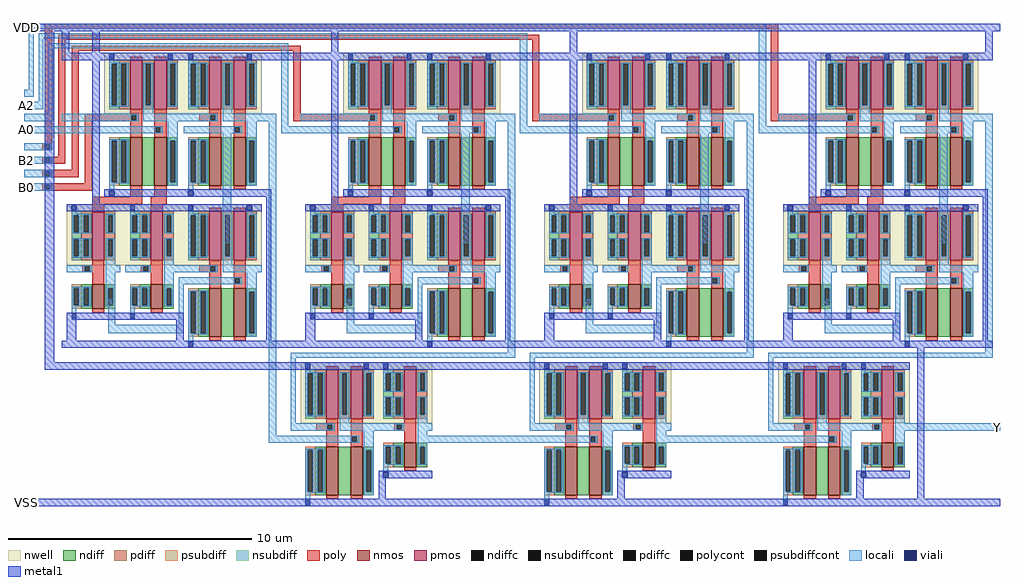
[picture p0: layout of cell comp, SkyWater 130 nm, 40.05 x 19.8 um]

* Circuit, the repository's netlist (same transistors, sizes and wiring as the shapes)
** sch_path: /home/wyatt/EE431/comp.sch
**.subckt comp VDD A3 A1 A0 A2 B3 B2 B1 B0 Y VSS
*.ipin VDD
*.opin Y
*.ipin VSS
*.ipin B0
*.ipin B1
*.ipin B2
*.ipin B3
*.ipin A0
*.ipin A1
*.ipin A2
*.ipin A3
x9 VDD net1 net3 m1 VSS and
x10 VDD net2 net5 net3 VSS and
x11 VDD net4 Y net5 VSS and
x1 VDD B3 A3 net4 VSS xnor
x2 VDD B2 A2 net2 VSS xnor
x3 VDD B1 A1 net1 VSS xnor
x4 VDD B0 A0 m1 VSS xnor
**.ends

* expanding   symbol:  and.sym # of pins=5
** sym_path: /home/wyatt/EE431/and.sym
** sch_path: /home/wyatt/EE431/and.sch
.subckt and VDD A Y B VSS
*.opin Y
*.ipin VSS
*.ipin VDD
*.ipin A
*.ipin B
x1 VDD net1 Y VSS inv
x2 VDD A net1 B VSS nand
.ends


* expanding   symbol:  xnor.sym # of pins=5
** sym_path: /home/wyatt/EE431/xnor.sym
** sch_path: /home/wyatt/EE431/xnor.sch
.subckt xnor VDD A B Y VSS
*.ipin VDD
*.ipin VSS
*.ipin A
*.ipin B
*.opin Y
x1 VDD A net4 B VSS nand
x2 VDD A net1 VSS inv
x3 VDD net4 Y net3 VSS nand
x4 VDD net2 net3 net1 VSS nand
x5 VDD B net2 VSS inv
.ends


* expanding   symbol:  inv.sym # of pins=4
** sym_path: /home/wyatt/EE431/inv.sym
** sch_path: /home/wyatt/EE431/inv.sch
.subckt inv VDD X Y GND
*.ipin X
*.iopin VDD
*.iopin GND
*.opin Y
XM1 Y X GND GND sky130_fd_pr__nfet_01v8 L=0.5 W=1 nf=1 ad='int((nf+1)/2) * W/nf * 0.29' as='int((nf+2)/2) * W/nf * 0.29' pd='2*int((nf+1)/2) * (W/nf + 0.29)'
+ ps='2*int((nf+2)/2) * (W/nf + 0.29)' nrd='0.29 / W' nrs='0.29 / W' sa=0 sb=0 sd=0 mult=1 m=1
XM2 Y X VDD VDD sky130_fd_pr__pfet_01v8 L=0.5 W=2 nf=1 ad='int((nf+1)/2) * W/nf * 0.29' as='int((nf+2)/2) * W/nf * 0.29' pd='2*int((nf+1)/2) * (W/nf + 0.29)'
+ ps='2*int((nf+2)/2) * (W/nf + 0.29)' nrd='0.29 / W' nrs='0.29 / W' sa=0 sb=0 sd=0 mult=1 m=1
.ends


* expanding   symbol:  nand.sym # of pins=5
** sym_path: /home/wyatt/EE431/nand.sym
** sch_path: /home/wyatt/EE431/nand.sch
.subckt nand VDD A Y B VSS
*.ipin A
*.ipin B
*.ipin VSS
*.opin Y
*.ipin VDD
XM1 Y B net1 VSS sky130_fd_pr__nfet_01v8 L=0.5 W=2 nf=1 ad='int((nf+1)/2) * W/nf * 0.29' as='int((nf+2)/2) * W/nf * 0.29' pd='2*int((nf+1)/2) * (W/nf + 0.29)'
+ ps='2*int((nf+2)/2) * (W/nf + 0.29)' nrd='0.29 / W' nrs='0.29 / W' sa=0 sb=0 sd=0 mult=1 m=1
XM3 Y B VDD VDD sky130_fd_pr__pfet_01v8 L=0.5 W=2 nf=1 ad='int((nf+1)/2) * W/nf * 0.29' as='int((nf+2)/2) * W/nf * 0.29' pd='2*int((nf+1)/2) * (W/nf + 0.29)'
+ ps='2*int((nf+2)/2) * (W/nf + 0.29)' nrd='0.29 / W' nrs='0.29 / W' sa=0 sb=0 sd=0 mult=1 m=1
XM4 Y A VDD VDD sky130_fd_pr__pfet_01v8 L=0.5 W=2 nf=1 ad='int((nf+1)/2) * W/nf * 0.29' as='int((nf+2)/2) * W/nf * 0.29' pd='2*int((nf+1)/2) * (W/nf + 0.29)'
+ ps='2*int((nf+2)/2) * (W/nf + 0.29)' nrd='0.29 / W' nrs='0.29 / W' sa=0 sb=0 sd=0 mult=1 m=1
XM2 net1 A VSS VSS sky130_fd_pr__nfet_01v8 L=0.5 W=2 nf=1 ad='int((nf+1)/2) * W/nf * 0.29' as='int((nf+2)/2) * W/nf * 0.29' pd='2*int((nf+1)/2) * (W/nf + 0.29)'
+ ps='2*int((nf+2)/2) * (W/nf + 0.29)' nrd='0.29 / W' nrs='0.29 / W' sa=0 sb=0 sd=0 mult=1 m=1
.ends

.end

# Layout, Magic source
magic
tech sky130A
<< poly >>
rect -70 1310 2940 1330
rect -70 840 -40 1310
rect -80 835 -40 840
rect -80 815 -70 835
rect -50 815 -40 835
rect -80 810 -40 815
rect -15 1265 1960 1285
rect -15 785 15 1265
rect -80 780 15 785
rect -80 760 -70 780
rect -50 760 15 780
rect -80 755 15 760
rect 40 1220 980 1240
rect 40 730 70 1220
rect 950 960 980 1220
rect 1930 960 1960 1265
rect 2910 960 2940 1310
rect -80 725 70 730
rect -80 705 -70 725
rect -50 705 70 725
rect -80 700 70 705
rect 95 930 290 960
rect 950 930 1260 960
rect 1930 930 2240 960
rect 2910 930 3220 960
rect 95 675 125 930
rect -80 670 125 675
rect -80 650 -70 670
rect -50 650 125 670
rect -80 645 125 650
<< polycont >>
rect -70 815 -50 835
rect -70 760 -50 780
rect -70 705 -50 725
rect -70 650 -50 670
<< locali >>
rect -135 1310 2890 1330
rect -135 1060 -115 1310
rect -155 1030 -115 1060
rect -95 1270 1910 1290
rect -95 1010 -75 1270
rect -155 980 -75 1010
rect -55 1230 930 1250
rect -55 960 -35 1230
rect -155 930 -35 960
rect -155 880 0 910
rect -155 835 -40 840
rect -155 815 -70 835
rect -50 815 -40 835
rect -155 810 -40 815
rect -155 780 -40 785
rect -155 760 -70 780
rect -50 760 -40 780
rect -155 755 -40 760
rect -155 725 -40 730
rect -155 705 -70 725
rect -50 705 -40 725
rect -155 700 -40 705
rect -155 670 -40 675
rect -155 650 -70 670
rect -50 650 -40 670
rect -155 645 -40 650
rect 850 -360 880 960
rect 900 910 930 1230
rect 900 880 980 910
rect 1830 -20 1860 960
rect 1880 910 1910 1270
rect 1880 880 1960 910
rect 2810 -20 2840 960
rect 2860 910 2890 1310
rect 2860 880 2940 910
rect 3790 -20 3820 960
rect 940 -40 1860 -20
rect 1920 -40 2840 -20
rect 2900 -40 3820 -20
rect 940 -310 960 -40
rect 1920 -310 1940 -40
rect 2900 -310 2920 -40
rect 940 -340 980 -310
rect 1920 -340 1985 -310
rect 2900 -340 2965 -310
rect 3480 -340 3850 -310
rect 850 -390 1005 -360
rect 1495 -390 1970 -360
rect 2475 -390 2950 -360
<< metal1 >>
rect -155 1300 3850 1330
rect -70 -60 -30 1300
rect 0 1210 30 1300
rect 125 1210 155 1300
rect 1105 1210 1135 1300
rect 2085 1210 2115 1300
rect 3790 1210 3820 1300
rect 0 1180 3820 1210
rect 0 0 3820 30
rect -70 -90 3365 -60
rect 3510 -620 3540 0
rect -155 -650 3850 -620
use magic_and  magic_and_0
transform 1 0 980 0 1 -650
box 0 0 540 590
use magic_and  magic_and_1
transform 1 0 1960 0 1 -650
box 0 0 540 590
use magic_and  magic_and_2
transform 1 0 2940 0 1 -650
box 0 0 540 590
use magic_xnor  magic_xnor_0
transform 1 0 500 0 1 620
box -500 -620 380 590
use magic_xnor  magic_xnor_1
transform 1 0 1480 0 1 620
box -500 -620 380 590
use magic_xnor  magic_xnor_2
transform 1 0 2460 0 1 620
box -500 -620 380 590
use magic_xnor  magic_xnor_3
transform 1 0 3440 0 1 620
box -500 -620 380 590
<< labels >>
rlabel locali -155 880 -135 910 7 A0
port 1 w
rlabel locali -155 930 -135 960 7 A1
port 2 w
rlabel locali -155 980 -135 1010 7 A2
port 3 w
rlabel locali -155 1030 -135 1060 7 A3
port 4 w
rlabel locali -155 645 -135 675 7 B0
port 5 w
rlabel locali -155 700 -135 730 7 B1
port 6 w
rlabel locali -155 755 -135 785 7 B2
port 7 w
rlabel locali -155 810 -135 840 7 B3
port 8 w
rlabel locali 3830 -340 3850 -310 3 Y
port 9 e
rlabel metal1 -155 1300 -135 1330 7 VDD
port 10 w
rlabel metal1 -155 -650 -135 -620 7 VSS
port 11 w
<< end >>

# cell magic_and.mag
magic
tech sky130A
<< locali >>
rect 0 310 20 340
rect 520 310 540 340
rect 0 260 20 290
<< metal1 >>
rect 0 560 20 590
rect 0 0 20 30
rect 320 0 350 115
use magic_inv  magic_inv_0
transform 1 0 425 0 1 160
box -105 -45 115 430
use magic_nand  magic_nand_0
transform 1 0 105 0 1 160
box -105 -160 220 430
<< labels >>
rlabel locali 0 310 20 340 7 A
port 1 w
rlabel locali 0 260 20 290 7 B
port 2 w
rlabel locali 520 310 540 340 3 Y
port 3 e
rlabel metal1 0 560 20 590 7 VDD
port 4 w
rlabel metal1 0 0 20 30 7 VSS
port 5 w
<< end >>

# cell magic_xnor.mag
magic
tech sky130A
<< nwell >>
rect -25 340 40 590
rect -280 -280 50 -30
<< poly >>
rect -220 0 -170 35
rect -120 0 -70 35
rect -375 -30 -170 0
rect -135 -30 -70 0
rect -375 -65 -325 -30
rect -135 -50 -85 -30
<< locali >>
rect -500 310 -325 340
rect -20 310 30 340
rect 315 310 380 340
rect -500 260 -325 290
rect 160 -190 195 290
rect -35 -310 15 -280
rect -310 -525 -280 -420
rect -20 -525 0 -330
rect -310 -560 0 -525
<< metal1 >>
rect -500 560 -310 590
rect -30 560 20 590
rect 320 560 380 590
rect -375 -60 -345 560
rect 325 0 360 30
rect -275 -60 65 -30
rect -480 -590 -440 -475
rect -370 -505 0 -475
rect -500 -620 -440 -590
rect -30 -620 0 -505
rect 340 -590 360 0
rect 320 -620 380 -590
use magic_inv  magic_inv_0
transform 1 0 -135 0 1 -460
box -105 -45 115 430
use magic_inv  magic_inv_1
transform 1 0 -375 0 1 -460
box -105 -45 115 430
use magic_nand  magic_nand_0
transform 1 0 105 0 1 160
box -105 -160 220 430
use magic_nand  magic_nand_1
transform 1 0 -220 0 1 160
box -105 -160 220 430
use magic_nand  magic_nand_2
transform 1 0 105 0 1 -460
box -105 -160 220 430
<< labels >>
rlabel locali -500 310 -480 340 7 A
port 1 w
rlabel locali -500 260 -480 290 7 B
port 2 w
rlabel locali 360 310 380 340 3 Y
port 3 e
rlabel metal1 -500 560 -480 590 7 VDD
port 4 w
rlabel metal1 -500 -620 -480 -590 7 VSS
port 5 w
<< end >>

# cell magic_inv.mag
magic
tech sky130A
<< nwell >>
rect -105 180 115 430
<< nmos >>
rect 0 0 50 100
<< pmos >>
rect 0 200 50 400
<< ndiff >>
rect -45 85 0 100
rect -45 15 -35 85
rect -15 15 0 85
rect -45 0 0 15
rect 50 85 95 100
rect 50 15 65 85
rect 85 15 95 85
rect 50 0 95 15
<< pdiff >>
rect -45 385 0 400
rect -45 315 -35 385
rect -15 315 0 385
rect -45 285 0 315
rect -45 215 -35 285
rect -15 215 0 285
rect -45 200 0 215
rect 50 385 95 400
rect 50 315 65 385
rect 85 315 95 385
rect 50 285 95 315
rect 50 215 65 285
rect 85 215 95 285
rect 50 200 95 215
<< ndiffc >>
rect -35 15 -15 85
rect 65 15 85 85
<< pdiffc >>
rect -35 315 -15 385
rect -35 215 -15 285
rect 65 315 85 385
rect 65 215 85 285
<< psubdiff >>
rect -85 85 -45 100
rect -85 15 -75 85
rect -55 15 -45 85
rect -85 0 -45 15
<< nsubdiff >>
rect -85 385 -45 400
rect -85 315 -75 385
rect -55 315 -45 385
rect -85 285 -45 315
rect -85 215 -75 285
rect -55 215 -45 285
rect -85 200 -45 215
<< psubdiffcont >>
rect -75 15 -55 85
<< nsubdiffcont >>
rect -75 315 -55 385
rect -75 215 -55 285
<< poly >>
rect 0 400 50 415
rect 0 180 50 200
rect -40 175 50 180
rect -40 155 -30 175
rect -10 155 50 175
rect -40 150 50 155
rect 0 100 50 150
rect 0 -15 50 0
<< polycont >>
rect -30 155 -10 175
<< locali >>
rect -85 425 -65 430
rect -85 390 -65 405
rect -85 385 -5 390
rect -85 315 -75 385
rect -55 315 -35 385
rect -15 315 -5 385
rect -85 310 -5 315
rect 55 385 95 390
rect 55 315 65 385
rect 85 315 95 385
rect 55 310 95 315
rect -85 285 -5 290
rect -85 215 -75 285
rect -55 215 -35 285
rect -15 215 -5 285
rect -85 210 -5 215
rect 55 285 95 290
rect 55 215 65 285
rect 85 215 95 285
rect 55 180 95 215
rect -105 175 0 180
rect -105 155 -30 175
rect -10 155 0 175
rect -105 150 0 155
rect 55 150 115 180
rect -85 85 -5 90
rect -85 15 -75 85
rect -55 15 -35 85
rect -15 15 -5 85
rect -85 10 -5 15
rect 55 85 95 150
rect 55 15 65 85
rect 85 15 95 85
rect 55 10 95 15
rect -85 -20 -65 10
rect -85 -45 -65 -40
<< viali >>
rect -85 405 -65 425
rect -85 -40 -65 -20
<< metal1 >>
rect -105 425 115 430
rect -105 405 -85 425
rect -65 405 115 425
rect -105 400 115 405
rect -105 -20 115 -15
rect -105 -40 -85 -20
rect -65 -40 115 -20
rect -105 -45 115 -40
<< labels >>
rlabel locali -105 150 -85 180 7 X
port 1 w
rlabel locali 95 150 115 180 3 Y
port 2 e
rlabel metal1 -105 400 -85 430 7 VDD
port 3 w
rlabel metal1 -105 -45 -85 -15 7 VSS
port 4 w
<< end >>

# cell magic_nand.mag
magic
tech sky130A
<< nwell >>
rect -105 180 215 430
<< nmos >>
rect 0 -115 50 85
rect 100 -115 150 85
<< pmos >>
rect 0 200 50 400
rect 100 200 150 400
<< ndiff >>
rect -45 70 0 85
rect -45 -100 -35 70
rect -15 -100 0 70
rect -45 -115 0 -100
rect 50 -115 100 85
rect 150 70 195 85
rect 150 -100 165 70
rect 185 -100 195 70
rect 150 -115 195 -100
<< pdiff >>
rect -45 385 0 400
rect -45 215 -35 385
rect -15 215 0 385
rect -45 200 0 215
rect 50 385 100 400
rect 50 215 65 385
rect 85 215 100 385
rect 50 200 100 215
rect 150 385 195 400
rect 150 215 165 385
rect 185 215 195 385
rect 150 200 195 215
<< ndiffc >>
rect -35 -100 -15 70
rect 165 -100 185 70
<< pdiffc >>
rect -35 215 -15 385
rect 65 215 85 385
rect 165 215 185 385
<< psubdiff >>
rect -85 70 -45 85
rect -85 -100 -75 70
rect -55 -100 -45 70
rect -85 -115 -45 -100
<< nsubdiff >>
rect -85 385 -45 400
rect -85 215 -75 385
rect -55 215 -45 385
rect -85 200 -45 215
<< psubdiffcont >>
rect -75 -100 -55 70
<< nsubdiffcont >>
rect -75 215 -55 385
<< poly >>
rect 0 400 50 415
rect 100 400 150 415
rect 0 180 50 200
rect -40 175 50 180
rect -40 155 5 175
rect 25 155 50 175
rect -40 150 50 155
rect 0 85 50 150
rect 100 125 150 200
rect 100 105 105 125
rect 125 105 150 125
rect 100 85 150 105
rect 0 -130 50 -115
rect 100 -130 150 -115
<< polycont >>
rect 5 155 25 175
rect 105 105 125 125
<< locali >>
rect -85 425 -65 430
rect -85 390 -65 405
rect 155 425 175 430
rect 155 390 175 405
rect -85 385 -5 390
rect -85 215 -75 385
rect -55 215 -35 385
rect -15 215 -5 385
rect -85 210 -5 215
rect 55 385 95 390
rect 55 215 65 385
rect 85 215 95 385
rect 55 180 95 215
rect 155 385 195 390
rect 155 215 165 385
rect 185 215 195 385
rect 155 210 195 215
rect -105 175 35 180
rect -105 155 5 175
rect 25 155 35 175
rect -105 150 35 155
rect 55 150 215 180
rect -105 125 135 130
rect -105 105 105 125
rect 125 105 135 125
rect -105 100 135 105
rect -85 70 -5 75
rect -85 -100 -75 70
rect -55 -100 -35 70
rect -15 -100 -5 70
rect -85 -105 -5 -100
rect 155 70 195 150
rect 155 -100 165 70
rect 185 -100 195 70
rect -85 -135 -65 -105
rect 155 -115 195 -100
rect -85 -160 -65 -155
<< viali >>
rect -85 405 -65 425
rect 155 405 175 425
rect -85 -155 -65 -135
<< metal1 >>
rect -105 425 215 430
rect -105 405 -85 425
rect -65 405 155 425
rect 175 405 215 425
rect -105 400 215 405
rect -105 -135 220 -130
rect -105 -155 -85 -135
rect -65 -155 220 -135
rect -105 -160 220 -155
<< labels >>
rlabel locali -105 150 -85 180 7 A
port 1 w
rlabel locali -105 100 -85 130 7 B
port 2 w
rlabel locali 195 150 215 180 3 Y
port 3 e
rlabel metal1 -105 400 -85 430 7 VDD
port 4 w
rlabel metal1 -105 -160 -85 -130 7 VSS
port 5 w
<< end >>
